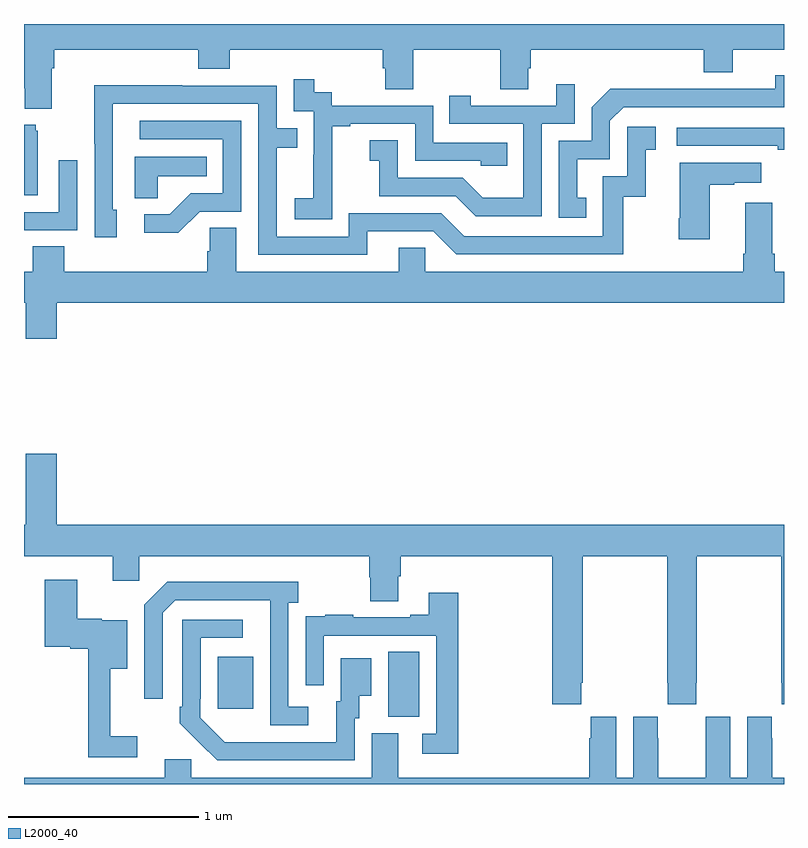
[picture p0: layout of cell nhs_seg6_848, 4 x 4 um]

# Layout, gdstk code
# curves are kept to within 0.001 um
import gdstk
lib = gdstk.Library(unit=1e-6, precision=1e-09)
def R(c, l, rs):  # rectangles x0, y0, x1, y1
    for r in rs: c.add(gdstk.rectangle(r[:2], r[2:], *l))
def P(c, l, *ps):  # polygons
    for p in ps: c.add(gdstk.Polygon(p, *l))
L2000_40 = (2000, 40)

nhs_seg6_848 = lib.new_cell('nhs_seg6_848')
R(nhs_seg6_848, L2000_40, [(166.916,915.853,167.08,916.196), (166.019,915.897,166.207,916.171)])
P(nhs_seg6_848, L2000_40, [(165.145,919.268),(165.158,919.268),(165.158,919.364),(165.917,919.364),(165.917,919.265),(166.082,919.265),(166.082,919.364),(166.889,919.364),(166.889,919.266),(166.901,919.266),(166.901,919.156),(167.049,919.156),(167.049,919.364),(167.506,919.364),(167.506,919.156),(167.653,919.156),(167.653,919.266),(167.666,919.266),(167.666,919.364),(168.578,919.364),(168.578,919.247),(168.73,919.247),(168.73,919.364),(169,919.364),(169,919.5),(165,919.5),(165,919.162),(165.005,919.162),(165.005,919.055),(165.145,919.055)],
  [(167.96,918.585),(167.911,918.585),(167.911,918.789),(168.084,918.789),(168.084,918.99),(168.156,919.062),(169,919.062),(169,919.231),(168.954,919.231),(168.954,919.158),(168.494,919.158),(168.494,919.16),(168.086,919.16),(167.988,919.062),(167.988,918.885),(167.814,918.885),(167.814,918.48),(167.96,918.48)],
  [(166.623,918.679),(166.622,918.679),(166.622,918.963),(166.717,918.963),(166.717,918.975),(167.058,918.975),(167.058,918.78),(167.403,918.78),(167.403,918.753),(167.543,918.753),(167.543,918.876),(167.154,918.876),(167.154,919.071),(166.62,919.071),(166.62,919.14),(166.528,919.14),(166.528,919.21),(166.419,919.21),(166.419,919.041),(166.524,919.041),(166.524,918.812),(166.523,918.812),(166.523,918.583),(166.425,918.583),(166.425,918.473),(166.623,918.473)],
  [(167.724,918.975),(167.898,918.975),(167.898,919.183),(167.801,919.183),(167.801,919.071),(167.35,919.071),(167.35,919.123),(167.239,919.123),(167.239,918.975),(167.628,918.975),(167.628,918.586),(167.414,918.586),(167.31,918.69),(166.968,918.69),(166.968,918.889),(166.821,918.889),(166.821,918.779),(166.87,918.779),(166.87,918.594),(167.273,918.594),(167.378,918.489),(167.724,918.489)],
  [(166.807,918.408),(167.154,918.408),(167.274,918.288),(168.154,918.288),(168.154,918.591),(168.272,918.591),(168.272,918.837),(168.325,918.837),(168.325,918.958),(168.174,918.958),(168.174,918.699),(168.045,918.699),(168.045,918.384),(167.316,918.384),(167.196,918.504),(166.71,918.504),(166.71,918.381),(166.329,918.381),(166.329,918.85),(166.439,918.85),(166.439,918.951),(166.329,918.951),(166.329,919.176),(165.833,919.176),(165.833,919.178),(165.37,919.178),(165.37,918.871),(165.372,918.871),(165.372,918.378),(165.487,918.378),(165.487,918.522),(165.468,918.522),(165.468,919.08),(166.233,919.08),(166.233,918.285),(166.807,918.285)],
  [(165.924,918.513),(166.143,918.513),(166.143,918.99),(165.609,918.99),(165.609,918.894),(166.047,918.894),(166.047,918.609),(165.878,918.609),(165.767,918.498),(165.633,918.498),(165.633,918.401),(165.811,918.401)],
  [(165.073,918.939),(165.062,918.939),(165.062,918.97),(165,918.97),(165,918.599),(165.073,918.599)],
  [(169,918.954),(168.435,918.954),(168.435,918.858),(168.967,918.858),(168.967,918.838),(169,918.838)],
  [(165.705,918.698),(165.962,918.698),(165.962,918.802),(165.584,918.802),(165.584,918.583),(165.705,918.583)],
  [(165.279,918.784),(165.183,918.784),(165.183,918.51),(165,918.51),(165,918.414),(165.279,918.414)],
  [(168.61,918.655),(168.737,918.655),(168.737,918.665),(168.88,918.665),(168.88,918.769),(168.452,918.769),(168.452,918.478),(168.445,918.478),(168.445,918.366),(168.61,918.366)],
  [(165.172,918.032),(169,918.032),(169,918.196),(168.95,918.196),(168.95,918.292),(168.937,918.292),(168.937,918.559),(168.797,918.559),(168.797,918.292),(168.785,918.292),(168.785,918.196),(167.112,918.196),(167.112,918.323),(166.973,918.323),(166.973,918.196),(166.117,918.196),(166.117,918.428),(165.978,918.428),(165.978,918.305),(165.965,918.305),(165.965,918.196),(165.212,918.196),(165.212,918.329),(165.047,918.329),(165.047,918.196),(165,918.196),(165,918.032),(165.008,918.032),(165.008,917.844),(165.172,917.844)],
  [(167.933,916.033),(167.94,916.033),(167.94,916.7),(168.385,916.7),(168.385,916.033),(168.387,916.033),(168.387,915.921),(168.537,915.921),(168.537,916.033),(168.54,916.033),(168.54,916.7),(168.985,916.7),(168.985,916.033),(168.987,916.033),(168.987,915.921),(169,915.921),(169,916.864),(165.172,916.864),(165.172,917.239),(165.008,917.239),(165.008,916.864),(165,916.864),(165,916.7),(165.467,916.7),(165.467,916.569),(165.606,916.569),(165.606,916.7),(166.817,916.7),(166.817,916.587),(166.822,916.587),(166.822,916.462),(166.969,916.462),(166.969,916.594),(166.982,916.594),(166.982,916.7),(167.78,916.7),(167.78,915.921),(167.933,915.921)],
  [(165.595,915.751),(165.455,915.751),(165.455,916.106),(165.544,916.106),(165.544,916.363),(165.408,916.363),(165.408,916.371),(165.28,916.371),(165.28,916.576),(165.11,916.576),(165.11,916.223),(165.243,916.223),(165.243,916.211),(165.337,916.211),(165.337,915.642),(165.595,915.642)],
  [(166.495,915.906),(166.392,915.906),(166.392,916.454),(166.444,916.454),(166.444,916.564),(165.754,916.564),(165.633,916.443),(165.633,915.948),(165.729,915.948),(165.729,916.401),(165.795,916.467),(166.295,916.467),(166.296,915.81),(166.495,915.81)],
  [(167.285,916.507),(167.129,916.507),(167.129,916.39),(167.033,916.39),(167.033,916.377),(166.733,916.377),(166.733,916.39),(166.585,916.39),(166.585,916.383),(166.483,916.383),(166.483,916.274),(166.482,916.274),(166.482,916.02),(166.578,916.02),(166.578,916.281),(167.169,916.281),(167.169,915.765),(167.097,915.765),(167.097,915.66),(167.285,915.66)],
  [(166.74,915.846),(166.765,915.846),(166.765,915.965),(166.828,915.965),(166.828,916.162),(166.667,916.162),(166.667,915.936),(166.643,915.936),(166.643,915.72),(166.056,915.721),(165.927,915.849),(165.927,915.949),(165.93,915.949),(165.93,916.269),(166.15,916.269),(166.15,916.365),(165.834,916.365),(165.834,915.907),(165.819,915.907),(165.819,915.819),(166.016,915.624),(166.74,915.624)],
  [(169,915.532),(168.937,915.532),(168.937,915.74),(168.936,915.74),(168.936,915.853),(168.806,915.853),(168.806,915.532),(168.718,915.532),(168.718,915.853),(168.588,915.853),(168.588,915.74),(168.587,915.74),(168.587,915.532),(168.337,915.532),(168.337,915.74),(168.336,915.74),(168.336,915.853),(168.206,915.853),(168.206,915.532),(168.118,915.532),(168.118,915.853),(167.984,915.853),(167.984,915.74),(167.975,915.74),(167.975,915.532),(166.969,915.532),(166.969,915.768),(166.829,915.768),(166.829,915.532),(165.879,915.532),(165.879,915.63),(165.74,915.63),(165.74,915.532),(165,915.532),(165,915.5),(169,915.5)])

lib.write_gds('nhs_seg6_848.gds')
